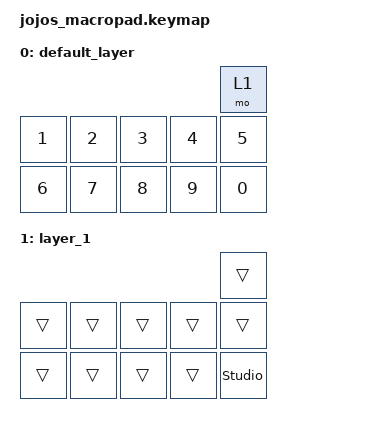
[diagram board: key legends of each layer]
#include <behaviors.dtsi>
#include <dt-bindings/zmk/keys.h>

/ {
    keymap {
        compatible = "zmk,keymap";

        default_layer {
            // Hold key 1 for layer 1.
            // Keys 2-11 type 1, 2, 3, 4, 5, 6, 7, 8, 9, 0.
            bindings = <
                &mo 1 &kp N1 &kp N2 &kp N3 &kp N4
                &kp N5 &kp N6 &kp N7 &kp N8 &kp N9 &kp N0
            >;
        };

        layer_1 {
            // Hold key 1, then press key 11 to unlock ZMK Studio.
            // Everything else falls through to layer 0.
            bindings = <
                &trans &trans &trans &trans &trans
                &trans &trans &trans &trans &trans &studio_unlock
            >;
        };
    };
};
